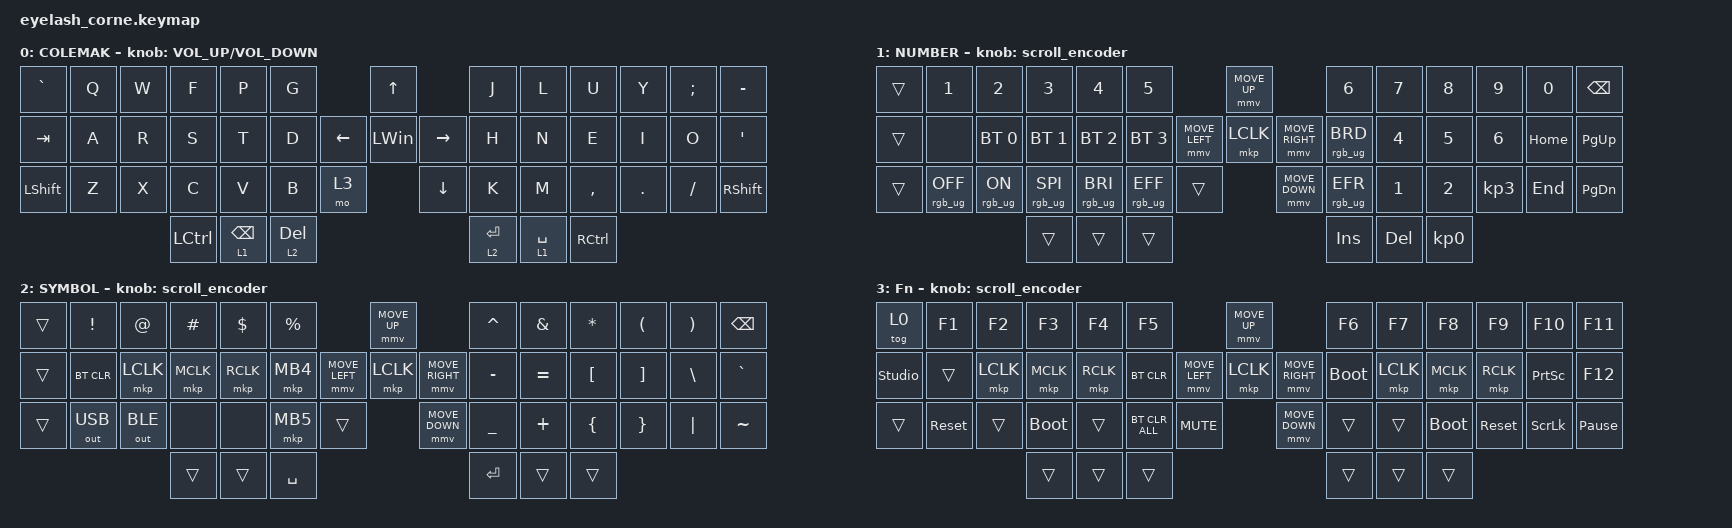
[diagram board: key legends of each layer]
#include <dt-bindings/zmk/mouse.h>
#include <input/processors.dtsi>
#include <behaviors.dtsi>
#include <dt-bindings/zmk/bt.h>
#include <dt-bindings/zmk/keys.h>
#include <dt-bindings/zmk/outputs.h>
#include <dt-bindings/zmk/pointing.h>
#include <dt-bindings/zmk/pointing.h>
#include <dt-bindings/zmk/pointing.h>
#include <dt-bindings/zmk/rgb.h>

/*

   &mmv_input_listener {
       input-processors = <&zip_xy_scaler 2 1>;
   };

   &msc_input_listener {
       input-processors = <&zip_xy_scaler 2 1>;
   };

 */

#define ZMK_MOUSE_DEFAULT_MOVE_VAL 1200  // 600
#define ZMK_MOUSE_DEFAULT_SCRL_VAL 20    // 10

/ {
    behaviors {
        td0: td0 {
            compatible = "zmk,behavior-tap-dance";
            display-name = "Shift/Caps Lock Tap Dance";
            #binding-cells = <0>;
            bindings = <&kp LEFT_SHIFT>, <&kp CAPS>;
        };
    };

    rgb_encoder: rgb_encoder {
        compatible = "zmk,behavior-sensor-rotate";
        #sensor-binding-cells = <0>;
        bindings = <&rgb_ug RGB_BRI>, <&rgb_ug RGB_BRD>;
    };

    scroll_encoder: scroll_encoder {
        compatible = "zmk,behavior-sensor-rotate";
        #sensor-binding-cells = <0>;
        bindings = <&msc SCRL_DOWN>, <&msc SCRL_UP>;

        tap-ms = <30>;
    };

    combos {
        compatible = "zmk,combos";

        escape {
            bindings = <&kp ESCAPE>;
            key-positions = <28 41>;
        };
    };

    keymap {
        compatible = "zmk,keymap";

        default_layer {
            display-name = "COLEMAK";
            bindings = <
&kp GRAVE       &kp Q  &kp W  &kp F             &kp P            &kp G                            &kp UP                   &kp J        &kp L        &kp U              &kp Y    &kp SEMICOLON  &kp MINUS
&kp TAB         &kp A  &kp R  &kp S             &kp T            &kp D                  &kp LEFT  &kp LEFT_WIN  &kp RIGHT  &kp H        &kp N        &kp E              &kp I    &kp O          &kp SQT
&kp LEFT_SHIFT  &kp Z  &kp X  &kp C             &kp V            &kp B         &mo 3              &kp DOWN                 &kp K        &kp M        &kp COMMA          &kp DOT  &kp FSLH       &kp RIGHT_SHIFT
                              &kp LEFT_CONTROL  &lt 1 BACKSPACE  &lt 2 DELETE                                              &lt 2 ENTER  &lt 1 SPACE  &kp RIGHT_CONTROL
            >;

            sensor-bindings = <&inc_dec_kp C_VOLUME_UP C_VOLUME_DOWN>;
        };

        lower_layer {
            display-name = "NUMBER";
            bindings = <
&trans  &kp N1           &kp N2          &kp N3           &kp N4           &kp N5                                     &mmv MOVE_UP                     &kp N6           &kp N7        &kp N8           &kp N9           &kp N0    &kp BSPC
&trans  &none            &bt BT_SEL 0    &bt BT_SEL 1     &bt BT_SEL 2     &bt BT_SEL 3               &mmv MOVE_LEFT  &mkp LCLK       &mmv MOVE_RIGHT  &rgb_ug RGB_BRD  &kp NUMBER_4  &kp N5           &kp NUMBER_6     &kp HOME  &kp PG_UP
&trans  &rgb_ug RGB_OFF  &rgb_ug RGB_ON  &rgb_ug RGB_SPI  &rgb_ug RGB_BRI  &rgb_ug RGB_EFF  &trans                    &mmv MOVE_DOWN                   &rgb_ug RGB_EFR  &kp NUMBER_1  &kp NUMBER_2     &kp KP_NUMBER_3  &kp END   &kp PG_DN
                                         &trans           &trans           &trans                                                                      &kp INS          &kp DEL       &kp KP_NUMBER_0
            >;

            sensor-bindings = <&scroll_encoder>;
        };

        raise_layer {
            display-name = "SYMBOL";
            bindings = <
&trans  &kp EXCL      &kp AT        &kp HASH   &kp DLLR   &kp PRCNT                            &mmv MOVE_UP                     &kp CARET  &kp AMPS   &kp ASTRK  &kp LPAR  &kp RPAR  &kp BSPC
&trans  &bt BT_CLR    &mkp LCLK     &mkp MCLK  &mkp RCLK  &mkp MB4             &mmv MOVE_LEFT  &mkp LCLK       &mmv MOVE_RIGHT  &kp MINUS  &kp EQUAL  &kp LBKT   &kp RBKT  &kp BSLH  &kp GRAVE
&trans  &out OUT_USB  &out OUT_BLE  &none      &none      &mkp MB5   &trans                    &mmv MOVE_DOWN                   &kp UNDER  &kp PLUS   &kp LBRC   &kp RBRC  &kp PIPE  &kp TILDE
                                    &trans     &trans     &kp SPACE                                                             &kp RET    &trans     &trans
            >;

            sensor-bindings = <&scroll_encoder>;
        };

        layer_3 {
            display-name = "Fn";
            bindings = <
&tog 0          &kp F1      &kp F2     &kp F3       &kp F4     &kp F5                                        &mmv MOVE_UP                     &kp F6       &kp F7     &kp F8       &kp F9      &kp F10          &kp F11
&studio_unlock  &trans      &mkp LCLK  &mkp MCLK    &mkp RCLK  &bt BT_CLR                    &mmv MOVE_LEFT  &mkp LCLK       &mmv MOVE_RIGHT  &bootloader  &mkp LCLK  &mkp MCLK    &mkp RCLK   &kp PRINTSCREEN  &kp F12
&trans          &sys_reset  &trans     &bootloader  &trans     &bt BT_CLR_ALL  &kp C_MUTE                    &mmv MOVE_DOWN                   &trans       &trans     &bootloader  &sys_reset  &kp SCROLLLOCK   &kp PAUSE_BREAK
                                       &trans       &trans     &trans                                                                         &trans       &trans     &trans
            >;

            sensor-bindings = <&scroll_encoder>;
        };
    };
};
